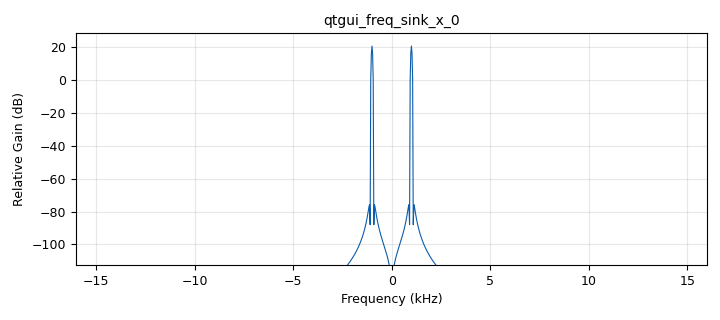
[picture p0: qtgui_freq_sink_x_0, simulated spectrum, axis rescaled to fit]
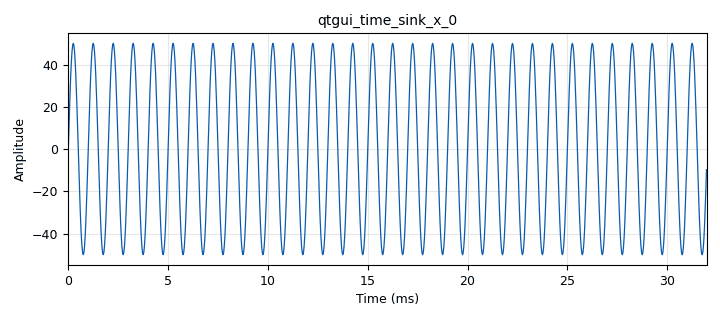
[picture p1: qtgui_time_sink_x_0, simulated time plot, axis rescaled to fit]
options:
  parameters:
    generate_options: qt_gui
    id: lab_2_1_2
    output_language: python
    title: Not titled yet
  states: {}

blocks:
- name: amplitud
  id: variable_qtgui_range
  parameters:
    label: Amplitud
    start: '0'
    step: '1'
    stop: '100'
    value: '50'
  states: {}
- name: samp_rate
  id: variable
  parameters:
    value: '32000'
  states: {}
- name: analog_sig_source_x_0
  id: analog_sig_source_x
  parameters:
    amp: amplitud
    freq: '1000'
    offset: '0'
    phase: '0'
    samp_rate: samp_rate
    type: float
    waveform: analog.GR_SIN_WAVE
  states: {}
- name: modulo_0
  id: modulo
  parameters:
    l_vect: '1024'
  states: {}
- name: qtgui_freq_sink_x_0
  id: qtgui_freq_sink_x
  parameters:
    bw: samp_rate
    fc: '0'
    fftsize: '1024'
    type: float
    wintype: window.WIN_BLACKMAN
  states: {}
- name: qtgui_time_sink_x_0
  id: qtgui_time_sink_x
  parameters:
    size: '1024'
    srate: samp_rate
    type: float
  states: {}

connections:
- [analog_sig_source_x_0, '0', modulo_0, '0']
- [analog_sig_source_x_0, '0', qtgui_freq_sink_x_0, '0']
- [analog_sig_source_x_0, '0', qtgui_time_sink_x_0, '0']

metadata:
  file_format: 1
